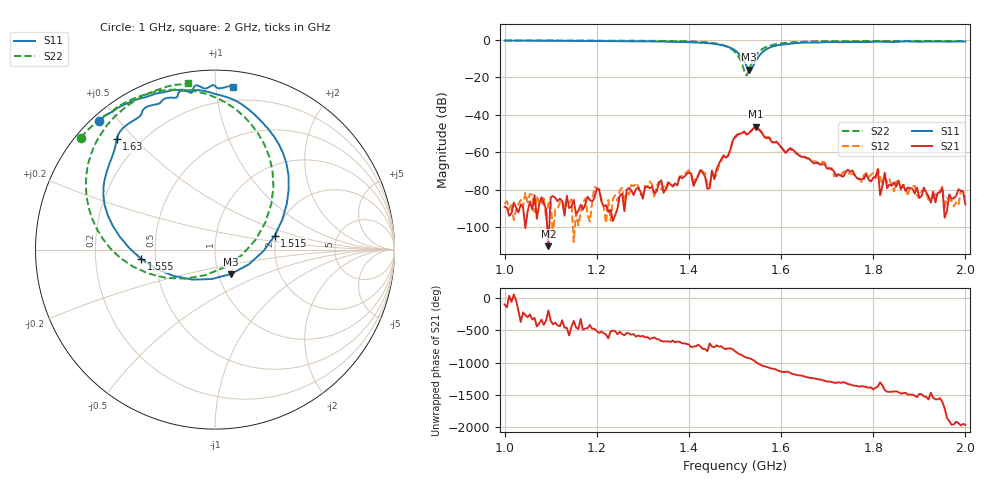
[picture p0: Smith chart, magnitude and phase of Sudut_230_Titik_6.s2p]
# Hz S RI R 50
! CMT, C1220, 16058040, 17.2.0/1
! Date: 14/08/2018 12:23:42
! Data: Format (Calibration Info)
! Freq  S11: Re/Im (F2)  S21: Re/Im (F2)  S12: Re/Im (F2)  S22: Re/Im (F2)
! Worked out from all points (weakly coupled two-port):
!   201 points, 1 GHz to 2 GHz, reference 50 ohm
!   highest |S21| = -46.36 dB at 1.545 GHz (marker M1); lowest = -110.2 dB at 1.095 GHz (marker M2)
!   lowest |S11| = -15.8 dB at 1.53 GHz (marker M3), VSWR 1.39, Z = 57.4 - j16 ohm
!   |S11| at or under -10 dB: 1.517 GHz to 1.548 GHz (31.51 MHz wide, 2.06 % of centre)
!   |S22| runs from -19.0 to -0.2 dB; largest |S21 - S12| = 0.00027
!   S11 on the Smith chart (normalised r, x): 1 GHz: 0.02, +0.44; 1.515 GHz: 1.96, +0.34; 1.555 GHz: 0.42, -0.05; 1.63 GHz: 0.12, +0.44; 2 GHz: 0.10, +1.11
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1e9  -0.6458 0.7157  -4.02e-06 -3.46e-05  -2.46e-05 -3.41e-05  -0.748 0.6242
1.095e9  -0.5534 0.7827  -3.05e-06 5.28e-07  4.02e-05 -1.48e-05  -0.679 0.6946
1.17e9  -0.4687 0.8239  -1.78e-05 -2.31e-05  4.49e-05 5.35e-07  -0.6114 0.7486
1.335e9  -0.2028 0.8885  2.42e-05 0.000152  6.62e-05 0.000146  -0.3962 0.8622
1.4e9  -0.0234 0.8743  0.000285 7.5e-06  0.000321 -8.23e-05  -0.2223 0.8912
1.41e9  0.0156 0.8637  0.000111 -5.95e-05  0.0001 -8.88e-05  -0.1835 0.8906
1.425e9  0.0818 0.8441  0.000294 -0.000154  0.000306 -0.000203  -0.1154 0.8827
1.445e9  0.1613 0.8009  0.000104 3.63e-05  0.00012 7.51e-06  -0.00639 0.8514
1.45e9  0.184 0.7837  0.000286 -0.000152  0.000279 -0.000138  0.0256 0.8371
1.455e9  0.2094 0.7623  0.000152 -0.000124  0.00013 -0.000143  0.059 0.8193
1.5e9  0.4105 0.3357  -0.000555 -0.00255  -0.00048 -0.00237  0.3255 0.3495
1.515e9  0.3321 0.0772  -0.00304 -0.00104  -0.00299 -0.00111  0.2272 0.0558
1.53e9  0.0894 -0.1357  -0.00281 0.00154  -0.00281 0.00153  -0.0529 -0.1422
1.545e9  -0.2311 -0.1466  -0.000343 0.0048  -0.000457 0.00471  -0.3721 -0.1331
1.555e9  -0.4103 -0.0524  0.00243 0.00279  0.00236 0.00297  -0.5265 -0.0474
1.63e9  -0.5477 0.6145  -0.000225 -0.00102  -0.000211 -0.000945  -0.6858 0.5433
1.67e9  -0.4283 0.7354  -0.000476 -0.000186  -0.000549 -0.000187  -0.6177 0.6707
1.775e9  -0.2237 0.8458  3.89e-05 0.000184  6.38e-06 0.000162  -0.4547 0.8242
1.81e9  -0.1881 0.8866  8.89e-05 0.000327  0.000258 0.000256  -0.4047 0.8534
1.815e9  -0.1782 0.8876  -5.24e-05 4.84e-05  0.000213 2.6e-05  -0.3976 0.8568
1.835e9  -0.1361 0.8739  0.000134 -2.9e-05  0.000185 -5.64e-05  -0.371 0.8697
2e9  0.0978 0.9061  -3.85e-05 -1.22e-05  -5.68e-05 -1.65e-05  -0.1486 0.9276
